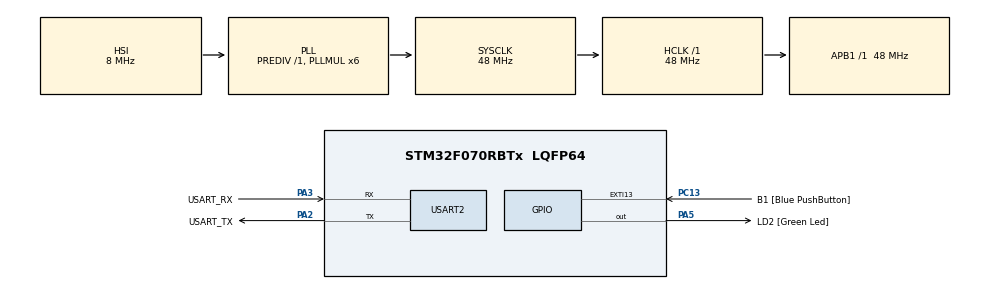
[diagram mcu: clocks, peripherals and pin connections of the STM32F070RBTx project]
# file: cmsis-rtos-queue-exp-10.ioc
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FREERTOS.Queues01=queue,5,int32_t,0,Dynamic,NULL,NULL
FREERTOS.Tasks01=senderTask2,0,128,sender,Default,(void*)200,Dynamic,NULL,NULL;senderTask1,0,128,sender,Default,(void*)100,Dynamic,NULL,NULL;receiverTask,1,128,receiver,Default,NULL,Dynamic,NULL,NULL
Mcu.Family=STM32F0
Mcu.Name=STM32F070RBTx
Mcu.Package=LQFP64
NVIC.TIM1_BRK_UP_TRG_COM_IRQn=true\:3\:0\:false\:false\:true\:false\:false\:true\:true
NVIC.TimeBase=TIM1_BRK_UP_TRG_COM_IRQn
NVIC.TimeBaseIP=TIM1
PA13.GPIO_Label=TMS
PA13.Mode=Serial_Wire
PA13.Signal=SYS_SWDIO
PA14.GPIO_Label=TCK
PA14.Mode=Serial_Wire
PA14.Signal=SYS_SWCLK
PA2.GPIO_Label=USART_TX
PA2.Mode=Asynchronous
PA2.Signal=USART2_TX
PA3.GPIO_Label=USART_RX
PA3.Mode=Asynchronous
PA3.Signal=USART2_RX
PA5.GPIO_Label=LD2 [Green Led]
PA5.Signal=GPIO_Output
PC13.GPIO_Label=B1 [Blue PushButton]
PC13.GPIO_ModeDefaultEXTI=GPIO_MODE_IT_FALLING
PC13.Signal=GPXTI13
PC14-OSC32_IN.GPIO_Label=RCC_OSC32_IN
PC14-OSC32_IN.Mode=LSE-External-Oscillator
PC14-OSC32_IN.Signal=RCC_OSC32_IN
PC15-OSC32_OUT.GPIO_Label=RCC_OSC32_OUT
PC15-OSC32_OUT.Mode=LSE-External-Oscillator
PC15-OSC32_OUT.Signal=RCC_OSC32_OUT
PF0-OSC_IN.GPIO_Label=RCC_OSC_IN
PF0-OSC_IN.Mode=HSE-External-Clock-Source
PF0-OSC_IN.Signal=RCC_OSC_IN
PF1-OSC_OUT.GPIO_Label=RCC_OSC_OUT
PF1-OSC_OUT.Signal=RCC_OSC_OUT
ProjectManager.HeapSize=0x200
ProjectManager.StackSize=0x400
ProjectManager.TargetToolchain=STM32CubeIDE
RCC.AHBFreq_Value=48000000
RCC.APB1Freq_Value=48000000
RCC.APB1TimFreq_Value=48000000
RCC.HCLKFreq_Value=48000000
RCC.PLLMUL=RCC_PLL_MUL6
RCC.SYSCLKFreq_VALUE=48000000
RCC.SYSCLKSource=RCC_SYSCLKSOURCE_PLLCLK
USART2.VirtualMode-Asynchronous=VM_ASYNC
VP_FREERTOS_VS_CMSIS_V1.Mode=CMSIS_V1
VP_SYS_VS_tim1.Mode=TIM1
board=NUCLEO-F070RB

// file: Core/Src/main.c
/* USER CODE BEGIN Header */
/**
  ******************************************************************************
  * @file           : main.c
  * @brief          : Main program body
  ******************************************************************************
  * @attention
  *
  * Copyright (c) 2023 STMicroelectronics.
  * All rights reserved.
  *
  * This software is licensed under terms that can be found in the LICENSE file
  * in the root directory of this software component.
  * If no LICENSE file comes with this software, it is provided AS-IS.
  *
  ******************************************************************************
  */
/* USER CODE END Header */
#include "main.h"
#include "cmsis_os.h"

/* USER CODE BEGIN Includes */
#include <string.h>
#include <stdio.h>
/* USER CODE END Includes */

/* USER CODE BEGIN PTD */
#define uartPrint(__message)                    HAL_UART_Transmit(&huart2,(uint8_t *)__message,strlen((const char*)__message),1000)
#define uartPrintNum(__message)                 HAL_UART_Transmit(&huart2,(uint8_t *)__message,strlen(__message),1000)
/* USER CODE END PTD */

 UART_HandleTypeDef huart2;

osThreadId senderTask2Handle;
osThreadId senderTask1Handle;
osThreadId receiverTaskHandle;
osMessageQId queueHandle;

void SystemClock_Config(void);
static void MX_GPIO_Init(void);
static void MX_USART2_UART_Init(void);
void sender(void const * argument);
void receiver(void const * argument);

int main(void)
{

  /* MCU Configuration--------------------------------------------------------*/

  /* Reset of all peripherals, Initializes the Flash interface and the Systick. */
  HAL_Init();

  /* Configure the system clock */
  SystemClock_Config();

  /* Initialize all configured peripherals */
  MX_GPIO_Init();
  MX_USART2_UART_Init();

  /* Create the queue(s) */
  /* definition and creation of queue */
  osMessageQDef(queue, 10, int32_t);
  queueHandle = osMessageCreate(osMessageQ(queue), NULL);

  /* Create the thread(s) */
  /* definition and creation of senderTask2 */
  osThreadDef(senderTask2, sender, osPriorityNormal, 0, 128);
  senderTask2Handle = osThreadCreate(osThread(senderTask2), (void*)200);

  /* definition and creation of senderTask1 */
  osThreadDef(senderTask1, sender, osPriorityNormal, 0, 128);
  senderTask1Handle = osThreadCreate(osThread(senderTask1), (void*)100);

  /* definition and creation of receiverTask */
  osThreadDef(receiverTask, receiver, osPriorityAboveNormal, 0, 128);
  receiverTaskHandle = osThreadCreate(osThread(receiverTask), NULL);

  /* Start scheduler */
  osKernelStart();

  /* We should never get here as control is now taken by the scheduler */
  /* Infinite loop */
  while (1)
  {

  }
}

void SystemClock_Config(void)
{
  RCC_OscInitTypeDef RCC_OscInitStruct = {0};
  RCC_ClkInitTypeDef RCC_ClkInitStruct = {0};

  /** Initializes the RCC Oscillators according to the specified parameters
  * in the RCC_OscInitTypeDef structure.
  */
  RCC_OscInitStruct.OscillatorType = RCC_OSCILLATORTYPE_HSI;
  RCC_OscInitStruct.HSIState = RCC_HSI_ON;
  RCC_OscInitStruct.HSICalibrationValue = RCC_HSICALIBRATION_DEFAULT;
  RCC_OscInitStruct.PLL.PLLState = RCC_PLL_ON;
  RCC_OscInitStruct.PLL.PLLSource = RCC_PLLSOURCE_HSI;
  RCC_OscInitStruct.PLL.PLLMUL = RCC_PLL_MUL6;
  RCC_OscInitStruct.PLL.PREDIV = RCC_PREDIV_DIV1;
  if (HAL_RCC_OscConfig(&RCC_OscInitStruct) != HAL_OK)
  {
    Error_Handler();
  }

  /** Initializes the CPU, AHB and APB buses clocks
  */
  RCC_ClkInitStruct.ClockType = RCC_CLOCKTYPE_HCLK|RCC_CLOCKTYPE_SYSCLK
                              |RCC_CLOCKTYPE_PCLK1;
  RCC_ClkInitStruct.SYSCLKSource = RCC_SYSCLKSOURCE_PLLCLK;
  RCC_ClkInitStruct.AHBCLKDivider = RCC_SYSCLK_DIV1;
  RCC_ClkInitStruct.APB1CLKDivider = RCC_HCLK_DIV1;

  if (HAL_RCC_ClockConfig(&RCC_ClkInitStruct, FLASH_LATENCY_1) != HAL_OK)
  {
    Error_Handler();
  }
}

static void MX_USART2_UART_Init(void)
{

  huart2.Instance = USART2;
  huart2.Init.BaudRate = 38400;
  huart2.Init.WordLength = UART_WORDLENGTH_8B;
  huart2.Init.StopBits = UART_STOPBITS_1;
  huart2.Init.Parity = UART_PARITY_NONE;
  huart2.Init.Mode = UART_MODE_TX_RX;
  huart2.Init.HwFlowCtl = UART_HWCONTROL_NONE;
  huart2.Init.OverSampling = UART_OVERSAMPLING_16;
  huart2.Init.OneBitSampling = UART_ONE_BIT_SAMPLE_DISABLE;
  huart2.AdvancedInit.AdvFeatureInit = UART_ADVFEATURE_NO_INIT;
  if (HAL_UART_Init(&huart2) != HAL_OK)
  {
    Error_Handler();
  }

}

static void MX_GPIO_Init(void)
{
  GPIO_InitTypeDef GPIO_InitStruct = {0};

  /* GPIO Ports Clock Enable */
  __HAL_RCC_GPIOC_CLK_ENABLE();
  __HAL_RCC_GPIOF_CLK_ENABLE();
  __HAL_RCC_GPIOA_CLK_ENABLE();

  /*Configure GPIO pin Output Level */
  HAL_GPIO_WritePin(GPIOA, GPIO_PIN_5, GPIO_PIN_RESET);

  /*Configure GPIO pin : PC13 */
  GPIO_InitStruct.Pin = GPIO_PIN_13;
  GPIO_InitStruct.Mode = GPIO_MODE_IT_FALLING;
  GPIO_InitStruct.Pull = GPIO_NOPULL;
  HAL_GPIO_Init(GPIOC, &GPIO_InitStruct);

  /*Configure GPIO pin : PA5 */
  GPIO_InitStruct.Pin = GPIO_PIN_5;
  GPIO_InitStruct.Mode = GPIO_MODE_OUTPUT_PP;
  GPIO_InitStruct.Pull = GPIO_NOPULL;
  GPIO_InitStruct.Speed = GPIO_SPEED_FREQ_LOW;
  HAL_GPIO_Init(GPIOA, &GPIO_InitStruct);

}

void sender(void const * argument)
{
  /* USER CODE BEGIN 5 */
  int32_t val;
  osStatus status;

  val = (int32_t) argument;

  /* Infinite loop */
  for(;;)
  {

	status = osMessagePut (queueHandle, val, 100);
    if(osOK != status){
    	//error
    	uartPrint("Could not send to the queue.\r\n");
    }
    osDelay(5000);
  }
  /* USER CODE END 5 */
}

void receiver(void const * argument)
{
  /* USER CODE BEGIN receiver */

  osEvent event;
  char str[3];

  osDelay(10000);
  /* Infinite loop */
  for(;;)
  {

//	if(osMessageWaiting(queueHandle) != 0){
//	  uartPrint("Queue should have been empty!\r\n");
//	}

	event = osMessageGet (queueHandle, 100);

	if(osEventMessage == event.status){
		uartPrint("Received:");
		sprintf(str, "%ld", event.value.v);
		uartPrint((uint8_t*)str);
		uartPrint("\r\n");
	}
	else{
		uartPrint("Could not receive from the queue.\r\n");
	}

	osDelay(1000);
  }
  /* USER CODE END receiver */
}

void HAL_TIM_PeriodElapsedCallback(TIM_HandleTypeDef *htim)
{
  if (htim->Instance == TIM1) {
    HAL_IncTick();
  }
}

void Error_Handler(void)
{
  __disable_irq();
  while (1)
  {
  }
}
